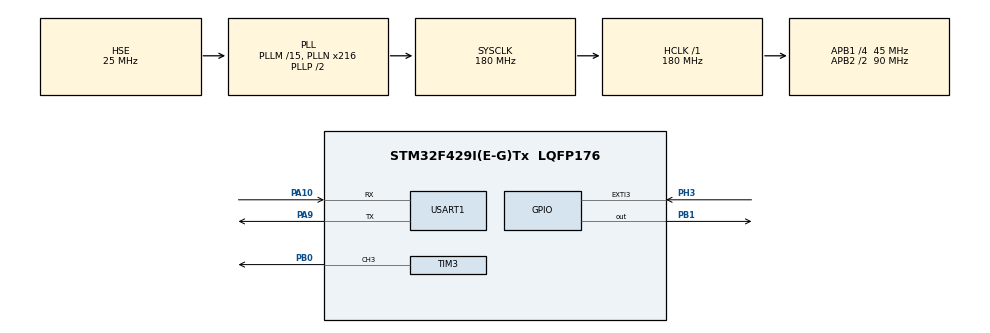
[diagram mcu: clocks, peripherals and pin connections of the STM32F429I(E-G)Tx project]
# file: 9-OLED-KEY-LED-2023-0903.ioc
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Mcu.Family=STM32F4
Mcu.Name=STM32F429I(E-G)Tx
Mcu.Package=LQFP176
NVIC.EXTI3_IRQn=true\:0\:0\:false\:false\:true\:true\:true
NVIC.PriorityGroup=NVIC_PRIORITYGROUP_4
NVIC.TIM2_IRQn=true\:0\:0\:false\:false\:true\:true\:true
NVIC.USART1_IRQn=true\:0\:0\:false\:false\:true\:true\:true
PA10.Mode=Asynchronous
PA10.Signal=USART1_RX
PA13.Mode=Serial_Wire
PA13.Signal=SYS_JTMS-SWDIO
PA14.Mode=Serial_Wire
PA14.Signal=SYS_JTCK-SWCLK
PA9.Mode=Asynchronous
PA9.Signal=USART1_TX
PB0.GPIO_Speed=GPIO_SPEED_FREQ_HIGH
PB0.Signal=S_TIM3_CH3
PB1.GPIO_Speed=GPIO_SPEED_FREQ_HIGH
PB1.PinState=GPIO_PIN_SET
PB1.Signal=GPIO_Output
PH0/OSC_IN.Mode=HSE-External-Oscillator
PH0/OSC_IN.Signal=RCC_OSC_IN
PH1/OSC_OUT.Mode=HSE-External-Oscillator
PH1/OSC_OUT.Signal=RCC_OSC_OUT
PH3.GPIO_PuPd=GPIO_PULLUP
PH3.Signal=GPXTI3
ProjectManager.HeapSize=0x200
ProjectManager.StackSize=0x400
ProjectManager.TargetToolchain=MDK-ARM V5.27
RCC.48MHZClocksFreq_Value=90000000
RCC.AHBFreq_Value=180000000
RCC.APB1CLKDivider=RCC_HCLK_DIV4
RCC.APB1Freq_Value=45000000
RCC.APB1TimFreq_Value=90000000
RCC.APB2CLKDivider=RCC_HCLK_DIV2
RCC.APB2Freq_Value=90000000
RCC.APB2TimFreq_Value=180000000
RCC.CortexFreq_Value=180000000
RCC.HCLKFreq_Value=180000000
RCC.HSE_VALUE=25000000
RCC.HSI_VALUE=16000000
RCC.LSE_VALUE=32768
RCC.PLLM=15
RCC.PLLN=216
RCC.PLLSourceVirtual=RCC_PLLSOURCE_HSE
RCC.SYSCLKFreq_VALUE=180000000
RCC.SYSCLKSource=RCC_SYSCLKSOURCE_PLLCLK
RCC.VCOOutputFreq_Value=360000000
SH.S_TIM3_CH3.0=TIM3_CH3,PWM Generation3 CH3
TIM2.Period=9000-1
TIM2.Prescaler=5000-1
TIM3.Channel-PWM\ Generation3\ CH3=TIM_CHANNEL_3
TIM3.OCPolarity_3=TIM_OCPOLARITY_LOW
TIM3.Period=1000-1
TIM3.Prescaler=90-1
USART1.VirtualMode=VM_ASYNC
VP_TIM2_VS_ClockSourceINT.Mode=Internal
board=custom

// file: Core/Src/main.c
/* USER CODE BEGIN Header */
/**
  ******************************************************************************
  * @file           : main.c
  * @brief          : Main program body
  ******************************************************************************
  * @attention
  *
  * <h2><center>&copy; Copyright (c) 2023 STMicroelectronics.
  * All rights reserved.</center></h2>
  *
  * This software component is licensed by ST under BSD 3-Clause license,
  * the "License"; You may not use this file except in compliance with the
  * License. You may obtain a copy of the License at:
  *                        opensource.org/licenses/BSD-3-Clause
  *
  ******************************************************************************
  */
/* USER CODE END Header */
#include "main.h"
#include "tim.h"
#include "usart.h"
#include "gpio.h"
#include "sys.h"
#include "delay.h"
#include "lcd.h"
#include "sdram.h"
#include "stdio.h"
#include "led.h"

void SystemClock_Config(void);

int main(void)
{
    /* USER CODE BEGIN 1 */
    u8 x=0;
    u8 lcd_id[12];

    /* USER CODE END 1 */

    /* MCU Configuration--------------------------------------------------------*/

    /* Reset of all peripherals, Initializes the Flash interface and the Systick. */
    HAL_Init();

    /* Configure the system clock */
    SystemClock_Config();

    /* Initialize all configured peripherals */
    MX_GPIO_Init();
    MX_USART1_UART_Init();
    MX_TIM3_Init();
    MX_TIM2_Init();
    /* USER CODE BEGIN 2 */
    delay_init(180);
    SDRAM_Init();                   //SDRAM初始化
    LCD_Init();
    POINT_COLOR=RED;
    LCD_ShowString(1,40,260,32,32,"Apollo STM32F4/F7");
    LCD_ShowString(1,80,240,24,24,"LTDC TEST");
	LCD_ShowString(1,110,240,16,16,"ATOM@ALIENTEK");
	LCD_ShowString(1,130,240,16,16,lcd_id);		//显示LCD ID
	LCD_ShowString(1,150,240,12,12,"2016/1/6");

	POINT_COLOR=YELLOW;
	Chinese_Show_one(100,200,0,16,0);
	Chinese_Show_one(108,200,1,16,0);
	Chinese_Show_one(116,200,2,16,0);
	Chinese_Show_one(124,200,3,16,0);
	Chinese_Show_one(132,200,4,16,0);
	Chinese_Show_one(140,200,5,16,0);
	Chinese_Show_one(148,200,6,16,0);
	Chinese_Show_one(156,200,7,16,0);

    sprintf((char*)lcd_id,"LCD ID:%04X",lcddev.id);//将LCD ID打印到lcd_id数组。

    /* USER CODE END 2 */

    /* Infinite loop */
    while (1)
    {

        /* USER CODE BEGIN 3 */
//        switch(x)
//        {
//        case 0:
//            LCD_Clear(WHITE);
//            break;
//        case 1:
//            LCD_Clear(BLACK);
//            break;
//        case 2:
//            LCD_Clear(BLUE);
//            break;
//        case 3:
//            LCD_Clear(RED);
//            break;
//        case 4:
//            LCD_Clear(MAGENTA);
//            break;
//        case 5:
//            LCD_Clear(GREEN);
//            break;
//        case 6:
//            LCD_Clear(CYAN);
//            break;
//        case 7:
//            LCD_Clear(YELLOW);
//            break;
//        case 8:
//            LCD_Clear(BRRED);
//            break;
//        case 9:
//            LCD_Clear(GRAY);
//            break;
//        case 10:
//            LCD_Clear(LGRAY);
//            break;
//        case 11:
//            LCD_Clear(BROWN);
//            break;
//        }
//        POINT_COLOR=RED;
//        LCD_ShowString(2,40,260,32,32,"Apollo STM32F4/F7");
//        LCD_ShowString(2,80,240,24,24,"LTDC TEST");
//        LCD_ShowString(2,110,240,16,16,"ATOM@ALIENTEK");
//        LCD_ShowString(2,130,240,16,16,lcd_id);		//显示LCD ID
//        LCD_ShowString(2,150,240,12,12,"2016/1/6");
//        LCD_ShowString(2,180,240,12,12,"gImage_bulethouch");
//        Chinese_Show_one(2,200,3,32,0);

        x++;
        if(x==12)x=0;
        HAL_GPIO_TogglePin(GPIOB,GPIO_PIN_1);
        delay_ms(1000);

    }
    /* USER CODE END 3 */
}

void SystemClock_Config(void)
{
    RCC_OscInitTypeDef RCC_OscInitStruct = {0};
    RCC_ClkInitTypeDef RCC_ClkInitStruct = {0};

    /** Configure the main internal regulator output voltage
    */
    __HAL_RCC_PWR_CLK_ENABLE();
    __HAL_PWR_VOLTAGESCALING_CONFIG(PWR_REGULATOR_VOLTAGE_SCALE1);
    /** Initializes the RCC Oscillators according to the specified parameters
    * in the RCC_OscInitTypeDef structure.
    */
    RCC_OscInitStruct.OscillatorType = RCC_OSCILLATORTYPE_HSE;
    RCC_OscInitStruct.HSEState = RCC_HSE_ON;
    RCC_OscInitStruct.PLL.PLLState = RCC_PLL_ON;
    RCC_OscInitStruct.PLL.PLLSource = RCC_PLLSOURCE_HSE;
    RCC_OscInitStruct.PLL.PLLM = 15;
    RCC_OscInitStruct.PLL.PLLN = 216;
    RCC_OscInitStruct.PLL.PLLP = RCC_PLLP_DIV2;
    RCC_OscInitStruct.PLL.PLLQ = 4;
    if (HAL_RCC_OscConfig(&RCC_OscInitStruct) != HAL_OK)
    {
        Error_Handler();
    }
    /** Activate the Over-Drive mode
    */
    if (HAL_PWREx_EnableOverDrive() != HAL_OK)
    {
        Error_Handler();
    }
    /** Initializes the CPU, AHB and APB buses clocks
    */
    RCC_ClkInitStruct.ClockType = RCC_CLOCKTYPE_HCLK|RCC_CLOCKTYPE_SYSCLK
                                  |RCC_CLOCKTYPE_PCLK1|RCC_CLOCKTYPE_PCLK2;
    RCC_ClkInitStruct.SYSCLKSource = RCC_SYSCLKSOURCE_PLLCLK;
    RCC_ClkInitStruct.AHBCLKDivider = RCC_SYSCLK_DIV1;
    RCC_ClkInitStruct.APB1CLKDivider = RCC_HCLK_DIV4;
    RCC_ClkInitStruct.APB2CLKDivider = RCC_HCLK_DIV2;

    if (HAL_RCC_ClockConfig(&RCC_ClkInitStruct, FLASH_LATENCY_5) != HAL_OK)
    {
        Error_Handler();
    }
}

void Error_Handler(void)
{
    __disable_irq();
    while (1)
    {
    }
}

/************************ (C) COPYRIGHT STMicroelectronics *****END OF FILE****/
